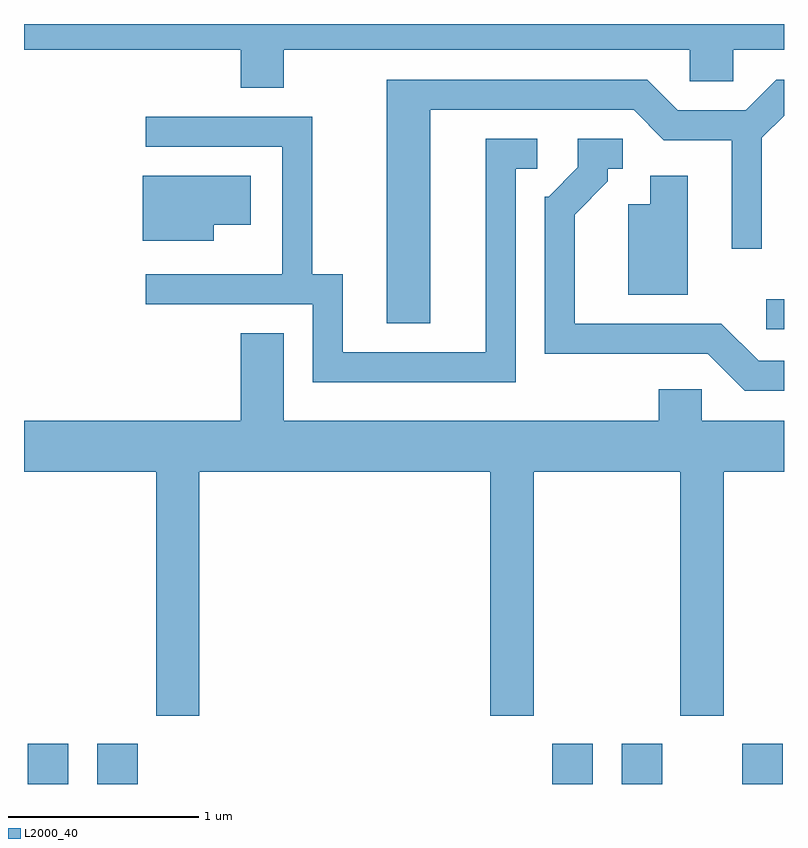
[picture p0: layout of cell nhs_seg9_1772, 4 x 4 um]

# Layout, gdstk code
import gdstk
lib = gdstk.Library(unit=1e-6, precision=1e-09)
def R(c, l, rs):  # rectangles x0, y0, x1, y1
    for r in rs: c.add(gdstk.rectangle(r[:2], r[2:], *l))
def P(c, l, *ps):  # polygons
    for p in ps: c.add(gdstk.Polygon(p, *l))
L2000_40 = (2000, 40)

nhs_seg9_1772 = lib.new_cell('nhs_seg9_1772')
R(nhs_seg9_1772, L2000_40, [(237.631,1952.432,237.844,1952.644), (237.996,1952.432,238.209,1952.644), (240.391,1952.432,240.604,1952.644), (240.756,1952.432,240.969,1952.644), (241.391,1952.432,241.604,1952.644), (241.518,1954.826,241.611,1954.984)])
P(nhs_seg9_1772, L2000_40, [(238.979,1956.296),(241.116,1956.296),(241.116,1956.131),(241.344,1956.131),(241.344,1956.296),(241.611,1956.296),(241.611,1956.432),(237.611,1956.432),(237.611,1956.296),(238.751,1956.296),(238.751,1956.096),(238.979,1956.096)],
  [(239.749,1955.981),(240.819,1955.981),(240.979,1955.821),(241.336,1955.821),(241.336,1955.248),(241.494,1955.248),(241.494,1955.834),(241.611,1955.95),(241.611,1956.139),(241.569,1956.139),(241.409,1955.979),(241.052,1955.979),(240.892,1956.139),(239.521,1956.139),(239.521,1954.856),(239.749,1954.856)],
  [(240.199,1955.671),(240.313,1955.671),(240.313,1955.829),(240.041,1955.829),(240.041,1954.704),(239.289,1954.704),(239.289,1955.114),(239.129,1955.114),(239.129,1955.944),(238.253,1955.944),(238.253,1955.786),(238.971,1955.786),(238.971,1955.114),(238.253,1955.114),(238.253,1954.956),(239.131,1954.956),(239.131,1954.546),(240.199,1954.546)],
  [(241.611,1954.659),(241.477,1954.659),(241.282,1954.854),(240.509,1954.854),(240.509,1955.429),(240.684,1955.604),(240.684,1955.671),(240.763,1955.671),(240.763,1955.829),(240.526,1955.829),(240.526,1955.677),(240.374,1955.524),(240.351,1955.524),(240.351,1954.696),(241.209,1954.696),(241.404,1954.501),(241.611,1954.501)],
  [(241.104,1955.634),(240.906,1955.634),(240.906,1955.484),(240.791,1955.484),(240.791,1955.006),(241.104,1955.006)],
  [(238.609,1955.376),(238.804,1955.376),(238.804,1955.634),(238.236,1955.634),(238.236,1955.291),(238.609,1955.291)],
  [(238.534,1954.076),(240.066,1954.076),(240.066,1952.791),(240.294,1952.791),(240.294,1954.076),(241.066,1954.076),(241.066,1952.791),(241.294,1952.791),(241.294,1954.076),(241.611,1954.076),(241.611,1954.344),(241.179,1954.344),(241.179,1954.509),(240.951,1954.509),(240.951,1954.344),(238.979,1954.344),(238.979,1954.804),(238.751,1954.804),(238.751,1954.344),(237.611,1954.344),(237.611,1954.076),(238.306,1954.076),(238.306,1952.791),(238.534,1952.791)])

lib.write_gds('nhs_seg9_1772.gds')
